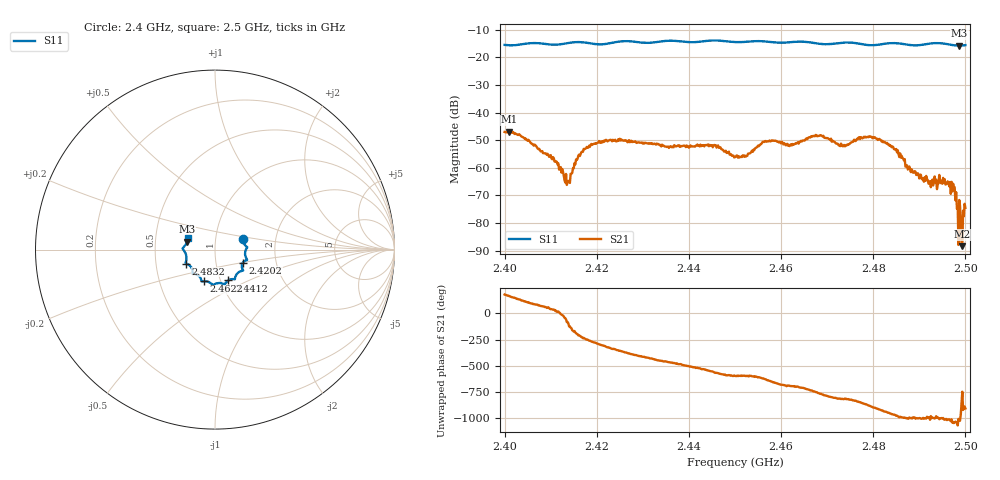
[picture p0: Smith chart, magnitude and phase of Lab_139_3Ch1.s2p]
# Hz S RI R 50
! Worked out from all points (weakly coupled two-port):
!   601 points, 2.4 GHz to 2.5 GHz, reference 50 ohm
!   highest |S21| = -46.92 dB at 2.401 GHz (marker M1); lowest = -88.3 dB at 2.4993 GHz (marker M2)
!   lowest |S11| = -15.8 dB at 2.4987 GHz (marker M3), VSWR 1.39, Z = 36.4 + j3.33 ohm
!   |S11| at or under -10 dB: start of sweep to end of sweep
!   S12 and S22 are empty: the file has one direction only
!   S11 on the Smith chart (normalised r, x): 2.4 GHz: 1.36, +0.17; 2.4202 GHz: 1.35, -0.20; 2.4412 GHz: 1.09, -0.39; 2.4622 GHz: 0.83, -0.30; 2.4832 GHz: 0.72, -0.12; 2.5 GHz: 0.73, +0.10
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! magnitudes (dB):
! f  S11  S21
! 2.4 GHz  -15.5  -47.0
! 2.401 GHz  -15.7  -46.9
! 2.4102 GHz  -15.4  -56.6
! 2.4137 GHz  -14.9  -65.2
! 2.4167 GHz  -14.6  -54.3
! 2.4202 GHz  -15.3  -51.0
! 2.4333 GHz  -14.4  -51.4
! 2.4412 GHz  -14.5  -52.3
! 2.4458 GHz  -13.9  -51.8
! 2.45 GHz  -14.5  -56.2
! 2.4565 GHz  -14.3  -50.4
! 2.4622 GHz  -14.5  -51.5
! 2.4667 GHz  -14.7  -48.8
! 2.473 GHz  -14.8  -51.2
! 2.4788 GHz  -15.6  -48.8
! 2.4832 GHz  -15.0  -51.5
! 2.4833 GHz  -15.0  -51.5
! 2.4905 GHz  -15.6  -64.0
! 2.4972 GHz  -15.6  -68.5
! 2.4987 GHz  -15.8  -71.6
! 2.4993 GHz  -15.8  -88.3
! 2.5 GHz  -15.6  -74.5
